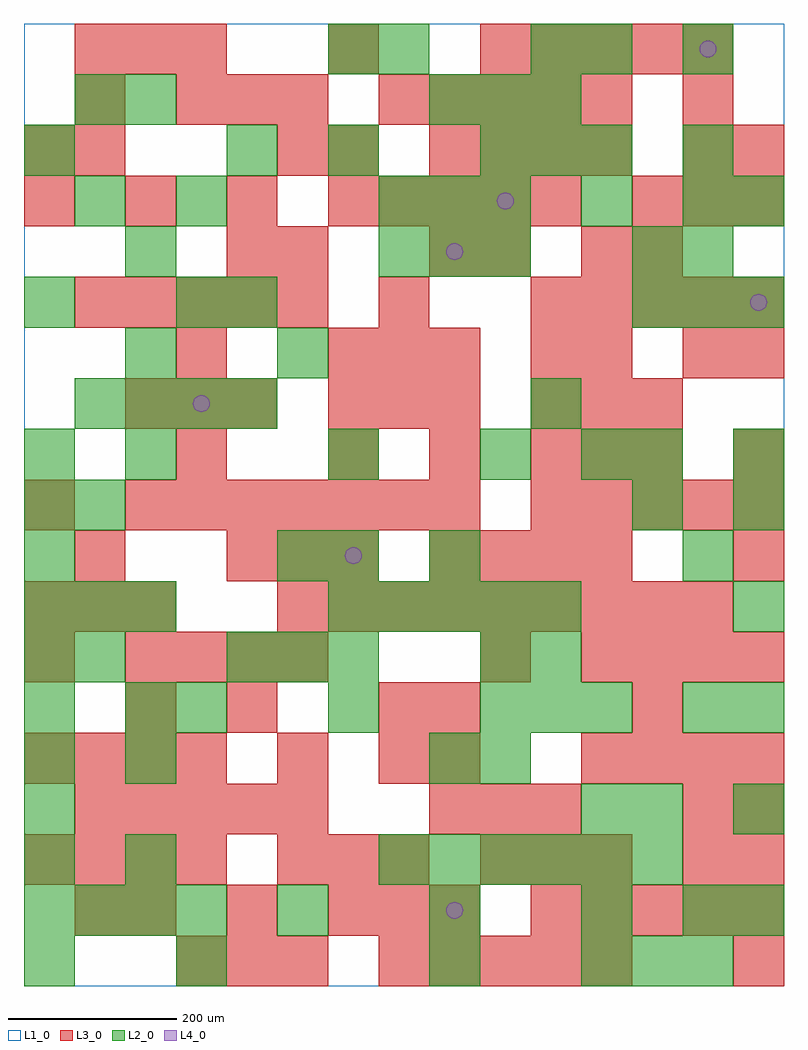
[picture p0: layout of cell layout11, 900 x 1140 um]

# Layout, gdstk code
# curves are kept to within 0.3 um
import gdstk
lib = gdstk.Library(unit=1e-6, precision=1e-09)
def R(c, l, rs):  # rectangles x0, y0, x1, y1
    for r in rs: c.add(gdstk.rectangle(r[:2], r[2:], *l))
def A(c, l, x, y, w, h, nx, ny, dx, dy):  # array of equal rectangles
    R(c, l, [(x+i*dx, y+j*dy, x+i*dx+w, y+j*dy+h) for i in range(nx) for j in range(ny)])
def P(c, l, *ps):  # polygons
    for p in ps: c.add(gdstk.Polygon(p, *l))
L1_0 = (1, 0)
L2_0 = (2, 0)
L3_0 = (3, 0)
L4_0 = (4, 0)

layout11 = lib.new_cell('layout11')
R(layout11, L1_0, [(0,0,900,1140)])
A(layout11, L2_0, 480, 0, 60, 60, 1, 3, 0, 240)
A(layout11, L2_0, 660, 0, 60, 60, 3, 1, 60, 0)
A(layout11, L2_0, 0, 60, 60, 60, 4, 1, 60, 0)
A(layout11, L2_0, 300, 60, 60, 60, 3, 1, 180, 0)
A(layout11, L2_0, 840, 60, 60, 60, 1, 5, 0, 120)
A(layout11, L2_0, 0, 120, 60, 60, 1, 5, 0, 60)
A(layout11, L2_0, 420, 120, 60, 60, 6, 1, 60, 0)
A(layout11, L2_0, 180, 300, 60, 60, 3, 1, 180, 0)
A(layout11, L2_0, 660, 300, 60, 60, 1, 3, 0, 300)
A(layout11, L2_0, 240, 360, 60, 60, 3, 1, 60, 0)
A(layout11, L2_0, 0, 420, 60, 60, 3, 1, 60, 0)
A(layout11, L2_0, 360, 420, 60, 60, 5, 1, 60, 0)
A(layout11, L2_0, 0, 480, 60, 60, 1, 3, 0, 60)
A(layout11, L2_0, 120, 600, 60, 60, 1, 3, 0, 120)
A(layout11, L2_0, 60, 660, 60, 60, 4, 1, 60, 0)
A(layout11, L2_0, 720, 780, 60, 60, 3, 1, 60, 0)
A(layout11, L2_0, 420, 840, 60, 60, 3, 2, 60, 60)
A(layout11, L2_0, 780, 840, 60, 60, 1, 3, 0, 60)
A(layout11, L2_0, 540, 960, 60, 60, 3, 1, 60, 0)
A(layout11, L2_0, 480, 1020, 60, 60, 3, 1, 60, 0)
R(layout11, L2_0, [(0,0,60,60), (180,0,240,60), (780,60,840,120), (120,120,180,180), (660,180,720,240), (720,180,780,240), (120,240,180,300), (540,240,600,300), (120,300,180,360), (600,300,660,360), (780,300,840,360), (60,360,120,420), (540,360,600,420), (600,360,660,420), (300,480,360,540), (360,480,420,540), (780,480,840,540), (60,540,120,600), (720,540,780,600), (360,600,420,660), (540,600,600,660), (720,600,780,660), (840,600,900,660), (600,660,660,720), (300,720,360,780), (0,780,60,840), (180,780,240,840), (240,780,300,840), (720,840,780,900), (60,900,120,960), (180,900,240,960), (840,900,900,960), (0,960,60,1020), (240,960,300,1020), (360,960,420,1020), (60,1020,120,1080), (120,1020,180,1080), (360,1080,420,1140), (420,1080,480,1140), (600,1080,660,1140), (660,1080,720,1140), (780,1080,840,1140)])
A(layout11, L3_0, 180, 0, 60, 60, 3, 2, 60, 1020)
A(layout11, L3_0, 420, 0, 60, 60, 5, 2, 60, 1020)
A(layout11, L3_0, 120, 60, 60, 60, 3, 1, 120, 0)
A(layout11, L3_0, 600, 60, 60, 60, 5, 2, 60, 480)
A(layout11, L3_0, 0, 120, 60, 60, 4, 2, 60, 120)
A(layout11, L3_0, 300, 120, 60, 60, 3, 1, 60, 0)
A(layout11, L3_0, 540, 120, 60, 60, 3, 1, 60, 0)
A(layout11, L3_0, 60, 180, 60, 60, 5, 2, 60, 600)
A(layout11, L3_0, 480, 180, 60, 60, 3, 1, 60, 0)
A(layout11, L3_0, 660, 240, 60, 60, 4, 2, 60, 120)
A(layout11, L3_0, 120, 360, 60, 60, 4, 1, 60, 0)
A(layout11, L3_0, 0, 420, 60, 60, 3, 1, 60, 0)
A(layout11, L3_0, 300, 420, 60, 60, 9, 1, 60, 0)
A(layout11, L3_0, 240, 480, 60, 60, 3, 1, 60, 0)
A(layout11, L3_0, 480, 480, 60, 60, 4, 2, 60, 480)
A(layout11, L3_0, 840, 480, 60, 60, 1, 3, 0, 120)
A(layout11, L3_0, 120, 540, 60, 60, 7, 1, 60, 0)
A(layout11, L3_0, 360, 600, 60, 60, 3, 1, 120, 0)
A(layout11, L3_0, 660, 600, 60, 60, 1, 3, 0, 120)
A(layout11, L3_0, 120, 660, 60, 60, 3, 1, 60, 0)
A(layout11, L3_0, 360, 660, 60, 60, 3, 2, 60, 60)
A(layout11, L3_0, 600, 660, 60, 60, 3, 1, 60, 0)
A(layout11, L3_0, 600, 780, 60, 60, 5, 1, 60, 0)
A(layout11, L3_0, 0, 900, 60, 60, 4, 1, 120, 0)
A(layout11, L3_0, 420, 900, 60, 60, 4, 1, 60, 0)
A(layout11, L3_0, 720, 900, 60, 60, 3, 1, 60, 0)
A(layout11, L3_0, 60, 1080, 60, 60, 3, 1, 60, 0)
A(layout11, L3_0, 540, 1080, 60, 60, 5, 1, 60, 0)
R(layout11, L3_0, [(840,0,900,60), (60,60,120,120), (420,60,480,120), (480,60,540,120), (780,120,840,180), (840,120,900,180), (780,180,840,240), (840,180,900,240), (300,240,360,300), (420,240,480,300), (480,240,540,300), (120,300,180,360), (240,300,300,360), (420,300,480,360), (480,300,540,360), (720,300,780,360), (0,360,60,420), (540,360,600,420), (60,480,120,540), (0,540,60,600), (180,600,240,660), (720,600,780,660), (180,720,240,780), (600,720,660,780), (780,720,840,780), (420,780,480,840), (240,840,300,900), (300,840,360,900), (480,840,540,900), (540,840,600,900), (720,840,780,900), (0,960,60,1020), (60,960,120,1020), (300,960,360,1020), (360,960,420,1020), (780,960,840,1020), (840,960,900,1020), (60,1020,120,1080), (780,1020,840,1080), (360,1080,420,1140)])
P(layout11, L4_0, [(220,690),(219.239,693.827),(217.071,697.071),(213.827,699.239),(210,700),(206.173,699.239),(202.929,697.071),(200.761,693.827),(200,690),(200.761,686.173),(202.929,682.929),(206.173,680.761),(210,680),(213.827,680.761),(217.071,682.929),(219.239,686.173)],
  [(400,510),(399.239,513.827),(397.071,517.071),(393.827,519.239),(390,520),(386.173,519.239),(382.929,517.071),(380.761,513.827),(380,510),(380.761,506.173),(382.929,502.929),(386.173,500.761),(390,500),(393.827,500.761),(397.071,502.929),(399.239,506.173)],
  [(520,90),(519.239,93.827),(517.071,97.071),(513.827,99.239),(510,100),(506.173,99.239),(502.929,97.071),(500.761,93.827),(500,90),(500.761,86.173),(502.929,82.929),(506.173,80.761),(510,80),(513.827,80.761),(517.071,82.929),(519.239,86.173)],
  [(520,870),(519.239,873.827),(517.071,877.071),(513.827,879.239),(510,880),(506.173,879.239),(502.929,877.071),(500.761,873.827),(500,870),(500.761,866.173),(502.929,862.929),(506.173,860.761),(510,860),(513.827,860.761),(517.071,862.929),(519.239,866.173)],
  [(580,930),(579.239,933.827),(577.071,937.071),(573.827,939.239),(570,940),(566.173,939.239),(562.929,937.071),(560.761,933.827),(560,930),(560.761,926.173),(562.929,922.929),(566.173,920.761),(570,920),(573.827,920.761),(577.071,922.929),(579.239,926.173)],
  [(820,1110),(819.239,1113.827),(817.071,1117.071),(813.827,1119.239),(810,1120),(806.173,1119.239),(802.929,1117.071),(800.761,1113.827),(800,1110),(800.761,1106.173),(802.929,1102.929),(806.173,1100.761),(810,1100),(813.827,1100.761),(817.071,1102.929),(819.239,1106.173)],
  [(880,810),(879.239,813.827),(877.071,817.071),(873.827,819.239),(870,820),(866.173,819.239),(862.929,817.071),(860.761,813.827),(860,810),(860.761,806.173),(862.929,802.929),(866.173,800.761),(870,800),(873.827,800.761),(877.071,802.929),(879.239,806.173)])

lib.write_gds('layout11.gds')
